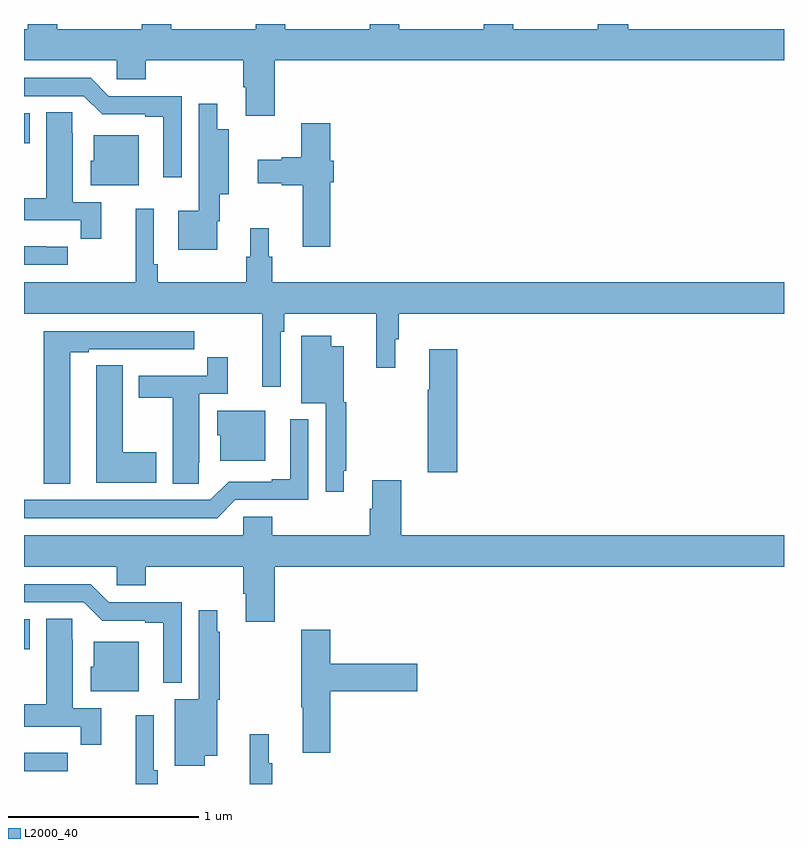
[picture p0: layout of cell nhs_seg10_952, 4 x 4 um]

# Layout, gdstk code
import gdstk
lib = gdstk.Library(unit=1e-6, precision=1e-09)
def R(c, l, rs):  # rectangles x0, y0, x1, y1
    for r in rs: c.add(gdstk.rectangle(r[:2], r[2:], *l))
def P(c, l, *ps):  # polygons
    for p in ps: c.add(gdstk.Polygon(p, *l))
L2000_40 = (2000, 40)

nhs_seg10_952 = lib.new_cell('nhs_seg10_952')
R(nhs_seg10_952, L2000_40, [(159,1305.208,159.031,1305.367), (159,1307.872,159.031,1308.031)])
P(nhs_seg10_952, L2000_40, [(160.319,1308.308),(163,1308.308),(163,1308.472),(162.179,1308.472),(162.179,1308.5),(162.019,1308.5),(162.019,1308.472),(161.574,1308.472),(161.574,1308.5),(161.419,1308.5),(161.419,1308.472),(160.974,1308.472),(160.974,1308.5),(160.819,1308.5),(160.819,1308.472),(160.374,1308.472),(160.374,1308.5),(160.219,1308.5),(160.219,1308.472),(159.774,1308.472),(159.774,1308.5),(159.619,1308.5),(159.619,1308.472),(159.174,1308.472),(159.174,1308.5),(159.019,1308.5),(159.019,1308.472),(159,1308.472),(159,1308.308),(159.489,1308.308),(159.489,1308.21),(159.641,1308.21),(159.641,1308.308),(160.154,1308.308),(160.154,1308.166),(160.166,1308.166),(160.166,1308.018),(160.319,1308.018)],
  [(159.831,1308.12),(159.447,1308.12),(159.351,1308.216),(159,1308.216),(159,1308.12),(159.315,1308.12),(159.411,1308.024),(159.638,1308.024),(159.638,1308.012),(159.734,1308.012),(159.734,1307.694),(159.831,1307.694)],
  [(160.017,1307.462),(160.03,1307.462),(160.03,1307.603),(160.078,1307.603),(160.078,1307.947),(160.018,1307.947),(160.018,1308.079),(159.92,1308.079),(159.92,1307.843),(159.919,1307.843),(159.919,1307.518),(159.812,1307.518),(159.812,1307.312),(160.017,1307.312)],
  [(159.407,1307.562),(159.256,1307.562),(159.256,1307.924),(159.255,1307.924),(159.255,1308.035),(159.116,1308.035),(159.116,1307.583),(159,1307.583),(159,1307.466),(159.298,1307.466),(159.298,1307.37),(159.407,1307.37)],
  [(160.613,1307.667),(160.631,1307.667),(160.631,1307.781),(160.613,1307.781),(160.613,1307.977),(160.459,1307.977),(160.459,1307.798),(160.356,1307.798),(160.356,1307.785),(160.23,1307.785),(160.23,1307.663),(160.356,1307.663),(160.356,1307.651),(160.466,1307.651),(160.466,1307.328),(160.613,1307.328)],
  [(159.604,1307.914),(159.368,1307.914),(159.368,1307.781),(159.35,1307.781),(159.35,1307.651),(159.604,1307.651)],
  [(160.35,1306.88),(160.37,1306.88),(160.37,1306.976),(160.855,1306.976),(160.855,1306.692),(160.954,1306.692),(160.954,1306.842),(160.973,1306.842),(160.973,1306.976),(163,1306.976),(163,1307.14),(160.307,1307.14),(160.307,1307.274),(160.288,1307.274),(160.288,1307.425),(160.19,1307.425),(160.19,1307.274),(160.171,1307.274),(160.171,1307.14),(159.704,1307.14),(159.704,1307.236),(159.684,1307.236),(159.684,1307.527),(159.587,1307.527),(159.587,1307.14),(159,1307.14),(159,1306.976),(160.253,1306.976),(160.253,1306.59),(160.35,1306.59)],
  [(159.229,1307.328),(159.116,1307.328),(159.116,1307.329),(159,1307.329),(159,1307.232),(159.229,1307.232)],
  [(159.244,1306.773),(159.34,1306.773),(159.34,1306.788),(159.616,1306.788),(159.616,1306.787),(159.782,1306.787),(159.782,1306.788),(159.895,1306.788),(159.895,1306.884),(159.104,1306.884),(159.104,1306.081),(159.244,1306.081)],
  [(160.684,1306.15),(160.696,1306.15),(160.696,1306.509),(160.684,1306.509),(160.684,1306.804),(160.618,1306.804),(160.618,1306.858),(160.46,1306.858),(160.46,1306.505),(160.587,1306.505),(160.587,1306.038),(160.684,1306.038)],
  [(161.279,1306.789),(161.132,1306.789),(161.132,1306.576),(161.125,1306.576),(161.125,1306.14),(161.279,1306.14)],
  [(159.921,1306.192),(159.922,1306.192),(159.922,1306.554),(160.073,1306.554),(160.073,1306.747),(159.964,1306.747),(159.964,1306.65),(159.605,1306.65),(159.605,1306.534),(159.782,1306.534),(159.782,1306.081),(159.921,1306.081)],
  [(159.697,1306.245),(159.52,1306.245),(159.52,1306.703),(159.381,1306.703),(159.381,1306.595),(159.38,1306.595),(159.38,1306.085),(159.697,1306.085)],
  [(160.27,1306.465),(160.016,1306.465),(160.016,1306.335),(160.034,1306.335),(160.034,1306.202),(160.27,1306.202)],
  [(160.113,1305.996),(160.497,1305.996),(160.497,1306.42),(160.4,1306.42),(160.4,1306.105),(160.304,1306.105),(160.304,1306.092),(160.077,1306.092),(159.981,1305.996),(159,1305.996),(159,1305.9),(160.017,1305.9)],
  [(160.155,1305.808),(159,1305.808),(159,1305.644),(159.489,1305.644),(159.489,1305.546),(159.641,1305.546),(159.641,1305.644),(160.154,1305.644),(160.154,1305.502),(160.166,1305.502),(160.166,1305.354),(160.319,1305.354),(160.319,1305.644),(163,1305.644),(163,1305.808),(160.985,1305.808),(160.985,1306.099),(160.832,1306.099),(160.832,1305.95),(160.82,1305.95),(160.82,1305.808),(160.307,1305.808),(160.307,1305.906),(160.155,1305.906)],
  [(159.831,1305.456),(159.447,1305.456),(159.351,1305.552),(159,1305.552),(159,1305.456),(159.315,1305.456),(159.411,1305.36),(159.638,1305.36),(159.638,1305.348),(159.734,1305.348),(159.734,1305.032),(159.831,1305.032)],
  [(159.952,1304.648),(160.018,1304.648),(160.018,1304.943),(160.03,1304.943),(160.03,1305.302),(160.018,1305.302),(160.018,1305.415),(159.921,1305.415),(159.921,1304.947),(159.794,1304.947),(159.794,1304.595),(159.952,1304.595)],
  [(159.407,1304.898),(159.256,1304.898),(159.256,1305.26),(159.255,1305.26),(159.255,1305.371),(159.116,1305.371),(159.116,1304.919),(159,1304.919),(159,1304.802),(159.298,1304.802),(159.298,1304.706),(159.407,1304.706)],
  [(160.613,1304.987),(161.071,1304.987),(161.071,1305.134),(160.613,1305.134),(160.613,1305.313),(160.459,1305.313),(160.459,1304.903),(160.466,1304.903),(160.466,1304.664),(160.613,1304.664)],
  [(159.604,1305.25),(159.368,1305.25),(159.368,1305.117),(159.35,1305.117),(159.35,1304.987),(159.604,1304.987)],
  [(159.704,1304.572),(159.684,1304.572),(159.684,1304.863),(159.587,1304.863),(159.587,1304.5),(159.704,1304.5)],
  [(160.307,1304.61),(160.288,1304.61),(160.288,1304.761),(160.189,1304.761),(160.189,1304.5),(160.307,1304.5)],
  [(159.229,1304.664),(159.116,1304.664),(159.116,1304.665),(159,1304.665),(159,1304.568),(159.229,1304.568)])

lib.write_gds('nhs_seg10_952.gds')
